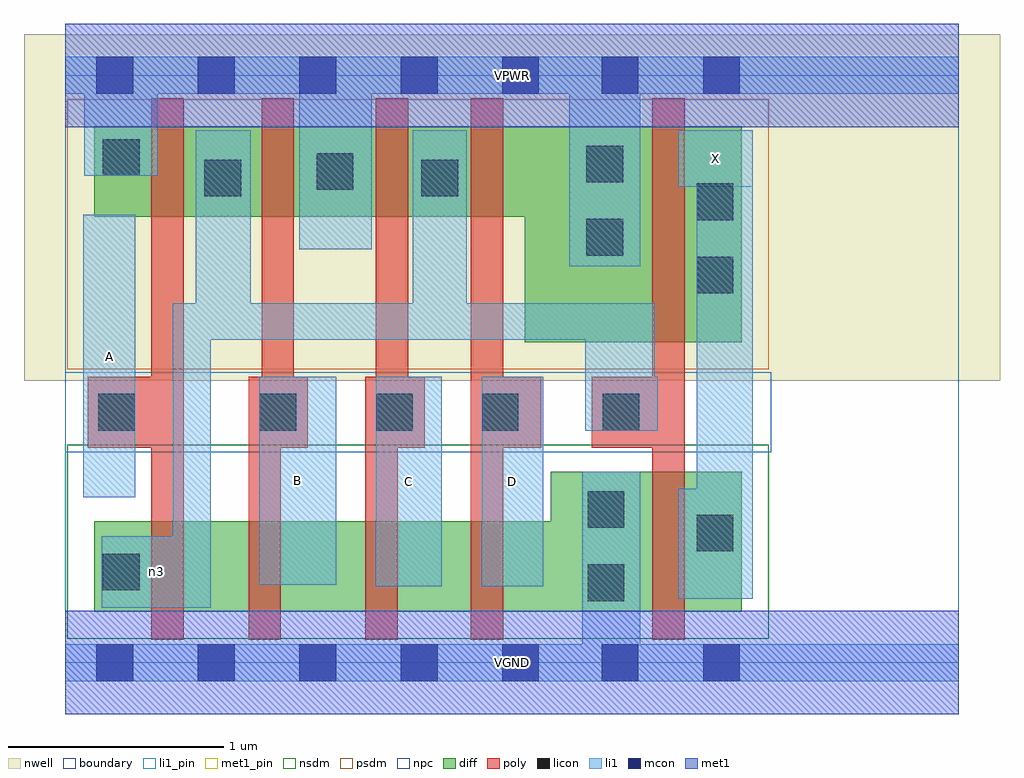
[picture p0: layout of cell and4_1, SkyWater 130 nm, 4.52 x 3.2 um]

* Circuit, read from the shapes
.subckt and4_1 A B C D VGND VPWR X n3
XM1 n1 A n3 VSUBS sky130_fd_pr__nfet_01v8 w=0.42 l=0.15
XM2 n2 B n1 VSUBS sky130_fd_pr__nfet_01v8 w=0.42 l=0.15
XM3 n4 C n2 VSUBS sky130_fd_pr__nfet_01v8 w=0.42 l=0.15
XM4 VGND D n4 VSUBS sky130_fd_pr__nfet_01v8 w=0.42 l=0.15
XM5 X n3 VGND VSUBS sky130_fd_pr__nfet_01v8 w=0.65 l=0.15
XM6 n3 A VPWR n5 sky130_fd_pr__pfet_01v8 w=0.42 l=0.15
XM7 VPWR B n3 n5 sky130_fd_pr__pfet_01v8 w=0.42 l=0.15
XM8 n3 C VPWR n5 sky130_fd_pr__pfet_01v8 w=0.42 l=0.15
XM9 VPWR D n3 n5 sky130_fd_pr__pfet_01v8 w=0.42 l=0.15
XM10 X n3 VPWR n5 sky130_fd_pr__pfet_01v8 w=1 l=0.15
.ends

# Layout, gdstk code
import gdstk
lib = gdstk.Library(unit=1e-6, precision=1e-09)
def R(c, l, rs):  # rectangles x0, y0, x1, y1
    for r in rs: c.add(gdstk.rectangle(r[:2], r[2:], *l))
def A(c, l, x, y, w, h, nx, ny, dx, dy):  # array of equal rectangles
    R(c, l, [(x+i*dx, y+j*dy, x+i*dx+w, y+j*dy+h) for i in range(nx) for j in range(ny)])
nwell = (64, 20)
diff = (65, 20)
poly = (66, 20)
licon = (66, 44)
li1_pin = (67, 16)
li1 = (67, 20)
mcon = (67, 44)
met1_pin = (68, 16)
met1 = (68, 20)
nsdm = (93, 44)
psdm = (94, 20)
npc = (95, 20)
boundary = (235, 4)

and4_1 = lib.new_cell('and4_1')
R(and4_1, nwell, [(-0.19,1.305,4.33,2.91), (0,1.305,4.14,2.91)])
R(and4_1, diff, [(0.135,0.235,3.135,0.655), (2.25,0.235,3.135,0.885), (2.13,1.485,3.135,2.485), (0.135,2.065,3.135,2.485)])
R(and4_1, poly, [(0.4,0.105,0.55,2.615), (0.85,0.105,1,1.325), (1.39,0.105,1.54,1.325), (1.88,0.105,2.03,2.615), (2.72,0.105,2.87,2.615), (0.105,0.995,0.55,1.325), (0.85,0.995,1.125,1.325), (0.91,0.995,1.06,2.615), (1.39,0.995,1.665,1.325), (1.44,0.995,1.59,2.615), (1.88,0.995,2.205,1.325), (2.44,0.995,2.87,1.325)])
R(and4_1, licon, [(2.42,0.285,2.59,0.455), (0.175,0.335,0.345,0.505), (2.925,0.515,3.095,0.685), (2.42,0.625,2.59,0.795), (0.155,1.075,0.325,1.245), (0.9,1.075,1.07,1.245), (1.44,1.075,1.61,1.245), (1.93,1.075,2.1,1.245), (2.49,1.075,2.66,1.245), (2.925,1.71,3.095,1.88), (2.415,1.885,2.585,2.055), (2.925,2.05,3.095,2.22), (0.645,2.16,0.815,2.33), (1.65,2.16,1.82,2.33), (1.165,2.19,1.335,2.36), (2.415,2.225,2.585,2.395), (0.175,2.255,0.345,2.425)])
R(and4_1, li1_pin, [(1.44,0.355,1.745,1.325), (1.93,0.355,2.215,1.325), (0.9,0.36,1.255,1.325), (0.085,0.765,0.325,2.075), (2.84,2.205,3.185,2.465)])
R(and4_1, li1, [(0,-0.085,4.14,0.085), (2.395,-0.085,2.665,0.885), (0.17,0.255,0.675,0.585), (0.5,0.255,0.675,1.665), (2.84,0.295,3.185,0.805), (2.925,0.295,3.185,2.465), (1.44,0.355,1.745,1.325), (1.93,0.355,2.215,1.325), (0.9,0.36,1.255,1.325), (0.085,0.765,0.325,2.075), (2.41,1.075,2.73,1.665), (2.41,1.075,2.745,1.325), (0.5,1.495,2.73,1.665), (0.605,1.495,0.86,2.465), (1.61,1.495,1.86,2.465), (2.335,1.835,2.665,2.805), (1.085,1.915,1.42,2.805), (2.84,2.205,3.185,2.465), (0.09,2.255,0.43,2.805), (0,2.635,4.14,2.805)])
A(and4_1, mcon, 0.145, -0.085, 0.17, 0.17, 5, 2, 0.47, 2.72)
R(and4_1, mcon, [(2.485,-0.085,2.655,0.085), (2.955,-0.085,3.125,0.085), (2.485,2.635,2.655,2.805), (2.955,2.635,3.125,2.805)])
R(and4_1, met1_pin, [(0,-0.24,4.14,0.24), (0,2.48,4.14,2.96)])
R(and4_1, met1, [(0,-0.24,4.14,0.24), (0,2.48,4.14,2.96)])
R(and4_1, nsdm, [(0.01,0.11,3.26,1.01)])
R(and4_1, psdm, [(0.01,1.36,3.26,2.61)])
R(and4_1, npc, [(0,0.975,3.27,1.345)])
R(and4_1, boundary, [(0,0,4.14,2.72)])
and4_1.add(gdstk.Label('A', (0.205,1.42), layer=67, texttype=5))
and4_1.add(gdstk.Label('B', (1.077,0.842), layer=67, texttype=5))
and4_1.add(gdstk.Label('C', (1.592,0.84), layer=67, texttype=5))
and4_1.add(gdstk.Label('D', (2.072,0.84), layer=67, texttype=5))
and4_1.add(gdstk.Label('X', (3.012,2.335), layer=67, texttype=5))
and4_1.add(gdstk.Label('n3', (0.422,0.42), layer=67, texttype=5))
and4_1.add(gdstk.Label('VPWR', (2.07,2.72), layer=68, texttype=5))
and4_1.add(gdstk.Label('VGND', (2.07,0), layer=68, texttype=5))
and4_1.add(gdstk.Label('A', (0.205,1.42), layer=67, texttype=16))
and4_1.add(gdstk.Label('B', (1.077,0.842), layer=67, texttype=16))
and4_1.add(gdstk.Label('C', (1.592,0.84), layer=67, texttype=16))
and4_1.add(gdstk.Label('D', (2.072,0.84), layer=67, texttype=16))
and4_1.add(gdstk.Label('X', (3.012,2.335), layer=67, texttype=16))
and4_1.add(gdstk.Label('VPWR', (2.07,2.72), layer=68, texttype=16))
and4_1.add(gdstk.Label('VGND', (2.07,0), layer=68, texttype=16))

lib.write_gds('and4_1.gds')
